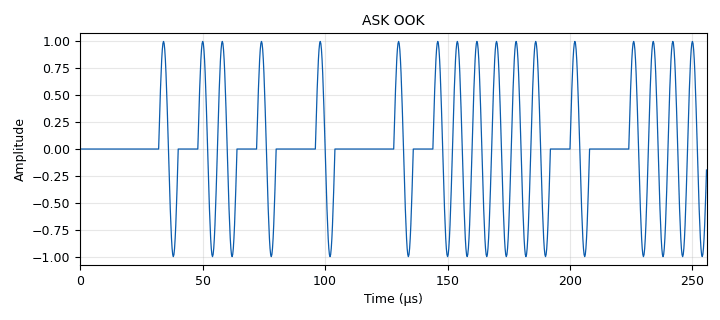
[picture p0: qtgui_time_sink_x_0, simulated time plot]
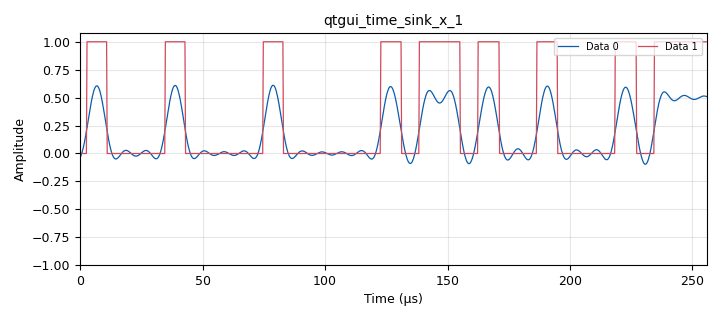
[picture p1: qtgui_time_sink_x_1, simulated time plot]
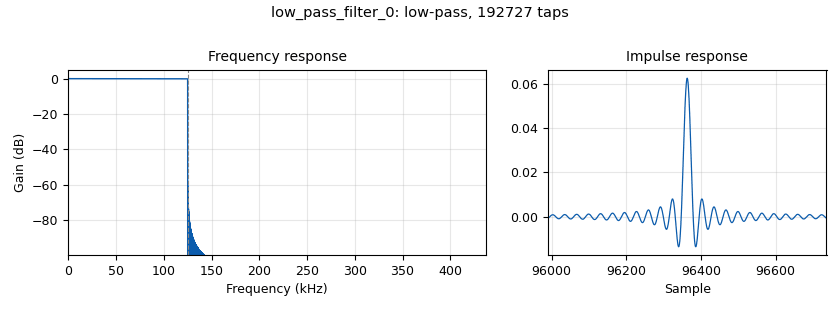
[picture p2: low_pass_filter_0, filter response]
<?xml version='1.0' encoding='utf-8'?>
<?grc format='1' created='3.7.13'?>
<flow_graph>
<block>
<key>options</key>
<param><key>id</key><value>top_block</value></param>
<param><key>generate_options</key><value>qt_gui</value></param>
</block>
<block>
<key>variable_qtgui_range</key>
<param><key>id</key><value>M</value></param>
<param><key>value</key><value>2</value></param>
<param><key>orient</key><value>Qt.Horizontal</value></param>
<param><key>start</key><value>0</value></param>
<param><key>step</key><value>1</value></param>
<param><key>stop</key><value>5</value></param>
</block>
<block>
<key>variable</key>
<param><key>id</key><value>filter_taps</value></param>
<param><key>value</key><value> firdes.low_pass(1,samp_rate,freq_port, 100000)</value></param>
</block>
<block>
<key>variable_qtgui_range</key>
<param><key>id</key><value>freq_filter</value></param>
<param><key>value</key><value>50</value></param>
<param><key>orient</key><value>Qt.Horizontal</value></param>
<param><key>start</key><value>0</value></param>
<param><key>step</key><value>1</value></param>
<param><key>stop</key><value>100000</value></param>
</block>
<block>
<key>variable_qtgui_range</key>
<param><key>id</key><value>freq_port</value></param>
<param><key>value</key><value>125000</value></param>
<param><key>orient</key><value>Qt.Horizontal</value></param>
<param><key>start</key><value>0</value></param>
<param><key>step</key><value>1</value></param>
<param><key>stop</key><value>125000</value></param>
</block>
<block>
<key>variable</key>
<param><key>id</key><value>nb_period_per_symbol</value></param>
<param><key>value</key><value>1</value></param>
</block>
<block>
<key>variable</key>
<param><key>id</key><value>nb_points_period</value></param>
<param><key>value</key><value>int(samp_rate/freq_port)</value></param>
</block>
<block>
<key>variable</key>
<param><key>id</key><value>samp_rate</value></param>
<param><key>value</key><value>4e6</value></param>
</block>
<block>
<key>analog_random_source_x</key>
<param><key>id</key><value>analog_random_source_x_0</value></param>
<param><key>max</key><value>2</value></param>
<param><key>min</key><value>0</value></param>
<param><key>num_samps</key><value>1000</value></param>
<param><key>type</key><value>byte</value></param>
<param><key>repeat</key><value>True</value></param>
</block>
<block>
<key>analog_sig_source_x</key>
<param><key>id</key><value>analog_sig_source_x_0</value></param>
<param><key>amp</key><value>1</value></param>
<param><key>freq</key><value>1000000</value></param>
<param><key>offset</key><value>0</value></param>
<param><key>type</key><value>complex</value></param>
<param><key>samp_rate</key><value>samp_rate</value></param>
<param><key>waveform</key><value>analog.GR_COS_WAVE</value></param>
</block>
<block>
<key>analog_sig_source_x</key>
<param><key>id</key><value>analog_sig_source_x_0_0</value></param>
<param><key>amp</key><value>1</value></param>
<param><key>freq</key><value>-1000000</value></param>
<param><key>offset</key><value>0</value></param>
<param><key>type</key><value>complex</value></param>
<param><key>samp_rate</key><value>samp_rate</value></param>
<param><key>waveform</key><value>analog.GR_COS_WAVE</value></param>
</block>
<block>
<key>analog_sig_source_x</key>
<param><key>id</key><value>analog_sig_source_x_1</value></param>
<param><key>amp</key><value>1</value></param>
<param><key>freq</key><value>125000</value></param>
<param><key>offset</key><value>0</value></param>
<param><key>type</key><value>float</value></param>
<param><key>samp_rate</key><value>samp_rate</value></param>
<param><key>waveform</key><value>analog.GR_SIN_WAVE</value></param>
</block>
<block>
<key>blocks_add_const_vxx</key>
<param><key>id</key><value>blocks_add_const_vxx_0</value></param>
<param><key>const</key><value>-0.2</value></param>
<param><key>type</key><value>float</value></param>
</block>
<block>
<key>blocks_char_to_float</key>
<param><key>id</key><value>blocks_char_to_float_0</value></param>
<param><key>scale</key><value>1</value></param>
</block>
<block>
<key>blocks_char_to_float</key>
<param><key>id</key><value>blocks_char_to_float_1</value></param>
<param><key>scale</key><value>1</value></param>
</block>
<block>
<key>blocks_complex_to_mag_squared</key>
<param><key>id</key><value>blocks_complex_to_mag_squared_0</value></param>
</block>
<block>
<key>blocks_float_to_complex</key>
<param><key>id</key><value>blocks_float_to_complex_0</value></param>
</block>
<block>
<key>blocks_multiply_xx</key>
<param><key>id</key><value>blocks_multiply_xx_0</value></param>
<param><key>type</key><value>float</value></param>
</block>
<block>
<key>blocks_multiply_xx</key>
<param><key>id</key><value>blocks_multiply_xx_0_0</value></param>
<param><key>type</key><value>complex</value></param>
</block>
<block>
<key>blocks_multiply_xx</key>
<param><key>id</key><value>blocks_multiply_xx_2</value></param>
<param><key>type</key><value>complex</value></param>
</block>
<block>
<key>blocks_repeat</key>
<param><key>id</key><value>blocks_repeat_0</value></param>
<param><key>interp</key><value>nb_period_per_symbol*nb_points_period</value></param>
<param><key>type</key><value>float</value></param>
</block>
<block>
<key>blocks_throttle</key>
<param><key>id</key><value>blocks_throttle_0_0</value></param>
<param><key>samples_per_second</key><value>samp_rate</value></param>
<param><key>type</key><value>float</value></param>
</block>
<block>
<key>blocks_throttle</key>
<param><key>id</key><value>blocks_throttle_1</value></param>
<param><key>samples_per_second</key><value>samp_rate</value></param>
<param><key>type</key><value>byte</value></param>
</block>
<block>
<key>digital_binary_slicer_fb</key>
<param><key>id</key><value>digital_binary_slicer_fb_0</value></param>
</block>
<block>
<key>low_pass_filter</key>
<param><key>id</key><value>low_pass_filter_0</value></param>
<param><key>cutoff_freq</key><value>125000</value></param>
<param><key>decim</key><value>1</value></param>
<param><key>type</key><value>fir_filter_fff</value></param>
<param><key>gain</key><value>1</value></param>
<param><key>samp_rate</key><value>samp_rate</value></param>
<param><key>width</key><value>50</value></param>
<param><key>win</key><value>firdes.WIN_HAMMING</value></param>
</block>
<block>
<key>qtgui_time_sink_x</key>
<param><key>id</key><value>qtgui_time_sink_x_0</value></param>
<param><key>ctrlpanel</key><value>True</value></param>
<param><key>grid</key><value>True</value></param>
<param><key>color1</key><value>"blue"</value></param>
<param><key>label1</key><value></value></param>
<param><key>name</key><value>ASK OOK</value></param>
<param><key>size</key><value>1024</value></param>
<param><key>srate</key><value>samp_rate</value></param>
<param><key>type</key><value>float</value></param>
<param><key>update_time</key><value>0.5</value></param>
</block>
<block>
<key>qtgui_time_sink_x</key>
<param><key>id</key><value>qtgui_time_sink_x_1</value></param>
<param><key>ctrlpanel</key><value>True</value></param>
<param><key>color1</key><value>"blue"</value></param>
<param><key>label1</key><value></value></param>
<param><key>color2</key><value>"red"</value></param>
<param><key>label2</key><value></value></param>
<param><key>nconnections</key><value>2</value></param>
<param><key>size</key><value>1024</value></param>
<param><key>srate</key><value>samp_rate</value></param>
<param><key>type</key><value>float</value></param>
</block>
<connection><source_block_id>analog_random_source_x_0</source_block_id><sink_block_id>blocks_throttle_1</sink_block_id><source_key>0</source_key><sink_key>0</sink_key></connection>
<connection><source_block_id>analog_sig_source_x_0</source_block_id><sink_block_id>blocks_multiply_xx_0_0</sink_block_id><source_key>0</source_key><sink_key>1</sink_key></connection>
<connection><source_block_id>analog_sig_source_x_0_0</source_block_id><sink_block_id>blocks_multiply_xx_2</sink_block_id><source_key>0</source_key><sink_key>1</sink_key></connection>
<connection><source_block_id>analog_sig_source_x_1</source_block_id><sink_block_id>blocks_throttle_0_0</sink_block_id><source_key>0</source_key><sink_key>0</sink_key></connection>
<connection><source_block_id>blocks_add_const_vxx_0</source_block_id><sink_block_id>digital_binary_slicer_fb_0</sink_block_id><source_key>0</source_key><sink_key>0</sink_key></connection>
<connection><source_block_id>blocks_char_to_float_0</source_block_id><sink_block_id>blocks_repeat_0</sink_block_id><source_key>0</source_key><sink_key>0</sink_key></connection>
<connection><source_block_id>blocks_char_to_float_1</source_block_id><sink_block_id>qtgui_time_sink_x_1</sink_block_id><source_key>0</source_key><sink_key>1</sink_key></connection>
<connection><source_block_id>blocks_complex_to_mag_squared_0</source_block_id><sink_block_id>low_pass_filter_0</sink_block_id><source_key>0</source_key><sink_key>0</sink_key></connection>
<connection><source_block_id>blocks_float_to_complex_0</source_block_id><sink_block_id>blocks_multiply_xx_0_0</sink_block_id><source_key>0</source_key><sink_key>0</sink_key></connection>
<connection><source_block_id>blocks_multiply_xx_0</source_block_id><sink_block_id>blocks_float_to_complex_0</sink_block_id><source_key>0</source_key><sink_key>0</sink_key></connection>
<connection><source_block_id>blocks_multiply_xx_0</source_block_id><sink_block_id>qtgui_time_sink_x_0</sink_block_id><source_key>0</source_key><sink_key>0</sink_key></connection>
<connection><source_block_id>blocks_multiply_xx_0_0</source_block_id><sink_block_id>blocks_multiply_xx_2</sink_block_id><source_key>0</source_key><sink_key>0</sink_key></connection>
<connection><source_block_id>blocks_multiply_xx_2</source_block_id><sink_block_id>blocks_complex_to_mag_squared_0</sink_block_id><source_key>0</source_key><sink_key>0</sink_key></connection>
<connection><source_block_id>blocks_repeat_0</source_block_id><sink_block_id>blocks_multiply_xx_0</sink_block_id><source_key>0</source_key><sink_key>1</sink_key></connection>
<connection><source_block_id>blocks_throttle_0_0</source_block_id><sink_block_id>blocks_multiply_xx_0</sink_block_id><source_key>0</source_key><sink_key>0</sink_key></connection>
<connection><source_block_id>blocks_throttle_1</source_block_id><sink_block_id>blocks_char_to_float_0</sink_block_id><source_key>0</source_key><sink_key>0</sink_key></connection>
<connection><source_block_id>digital_binary_slicer_fb_0</source_block_id><sink_block_id>blocks_char_to_float_1</sink_block_id><source_key>0</source_key><sink_key>0</sink_key></connection>
<connection><source_block_id>low_pass_filter_0</source_block_id><sink_block_id>blocks_add_const_vxx_0</sink_block_id><source_key>0</source_key><sink_key>0</sink_key></connection>
<connection><source_block_id>low_pass_filter_0</source_block_id><sink_block_id>qtgui_time_sink_x_1</sink_block_id><source_key>0</source_key><sink_key>0</sink_key></connection>
</flow_graph>
